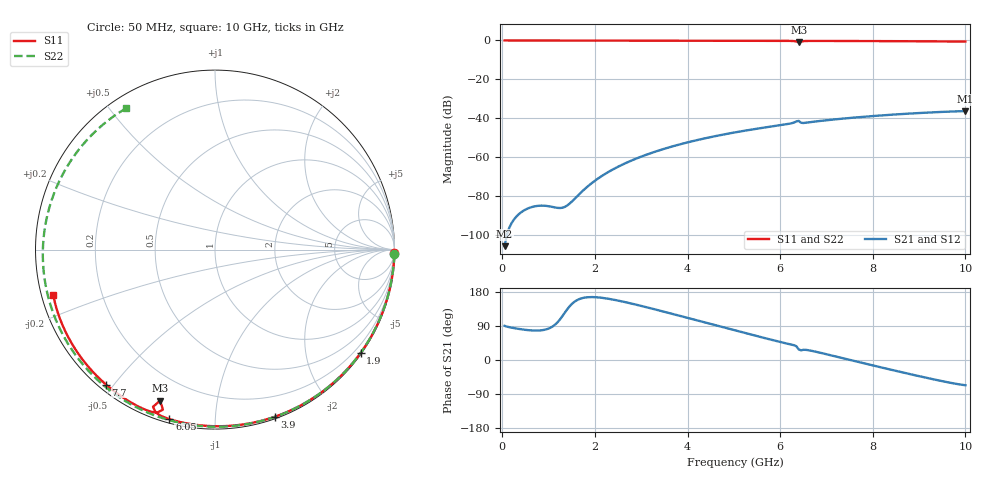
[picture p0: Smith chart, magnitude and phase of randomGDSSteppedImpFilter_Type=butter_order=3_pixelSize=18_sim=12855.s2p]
! freq	dB(S11)	phase(S11)	dB(S12)	phase(S12)
!  dB(S21)	phase(S21)	dB(S22)	phase(S22)
!S-par simulation data
#  GHz  S  DB  R 50
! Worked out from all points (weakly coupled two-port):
!   200 points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, 50 MHz to 10 GHz, reference 50 ohm
!   highest |S21| = -36.26 dB at 10 GHz (marker M1); lowest = -105.5 dB at 50 MHz (marker M2)
!   lowest |S11| = -1.0 dB at 6.4 GHz (marker M3), VSWR 18.00, Z = 4.14 - j34.9 ohm
!   |S11| at or under -10 dB: nowhere
!   |S22| runs from -0.6 to 0.0 dB; largest |S21 - S12| = 0
!   S11 on the Smith chart (normalised r, x): 50 MHz: open; 1.9 GHz: 0.03, -3.14; 3.9 GHz: 0.02, -1.42; 6.05 GHz: 0.02, -0.77; 7.7 GHz: 0.02, -0.48; 10 GHz: 0.03, -0.14
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0.05  -0.00 -1.0  -105.54 90.1  -105.54 90.1  -0.00 -1.4
0.8  -0.02 -15.1  -84.79 77.9  -84.79 77.9  -0.03 -22.5
1.6  -0.04 -29.9  -80.32 157.0  -80.32 157.0  -0.06 -44.4
1.75  -0.04 -32.6  -76.86 164.0  -76.86 164.0  -0.06 -48.4
1.9  -0.04 -35.3  -73.79 166.0  -73.79 166.0  -0.07 -52.3
2.2  -0.05 -40.8  -68.76 163.3  -68.76 163.3  -0.08 -60.1
2.55  -0.06 -47.0  -64.19 155.5  -64.19 155.5  -0.09 -69.1
2.95  -0.07 -54.0  -60.05 144.2  -60.05 144.2  -0.10 -79.0
3.4  -0.08 -61.8  -56.30 130.4  -56.30 130.4  -0.11 -89.9
3.9  -0.10 -70.3  -52.90 114.4  -52.90 114.4  -0.13 -101.6
4.45  -0.11 -79.4  -49.83 96.6  -49.83 96.6  -0.16 -114.1
5.05  -0.14 -89.1  -47.05 77.3  -47.05 77.3  -0.19 -127.3
6.05  -0.19 -105.1  -43.31 46.1  -43.31 46.1  -0.25 -148.7
6.35  -0.52 -111.5  -41.56 36.3  -41.56 36.3  -0.27 -155.0
6.4  -0.97 -110.0  -41.26 28.1  -41.26 28.1  -0.27 -156.1
6.45  -0.56 -108.0  -42.22 25.5  -42.22 25.5  -0.27 -157.1
6.5  -0.34 -109.4  -42.35 26.8  -42.35 26.8  -0.28 -158.2
6.7  -0.24 -113.5  -41.75 23.7  -41.75 23.7  -0.29 -162.4
7.7  -0.30 -129.0  -39.36 -5.5  -39.36 -5.5  -0.38 176.2
8.35  -0.35 -138.6  -38.18 -24.4  -38.18 -24.4  -0.44 161.8
9.15  -0.44 -150.6  -37.04 -46.8  -37.04 -46.8  -0.53 143.2
10  -0.58 -164.3  -36.26 -66.6  -36.26 -66.6  -0.63 122.3
